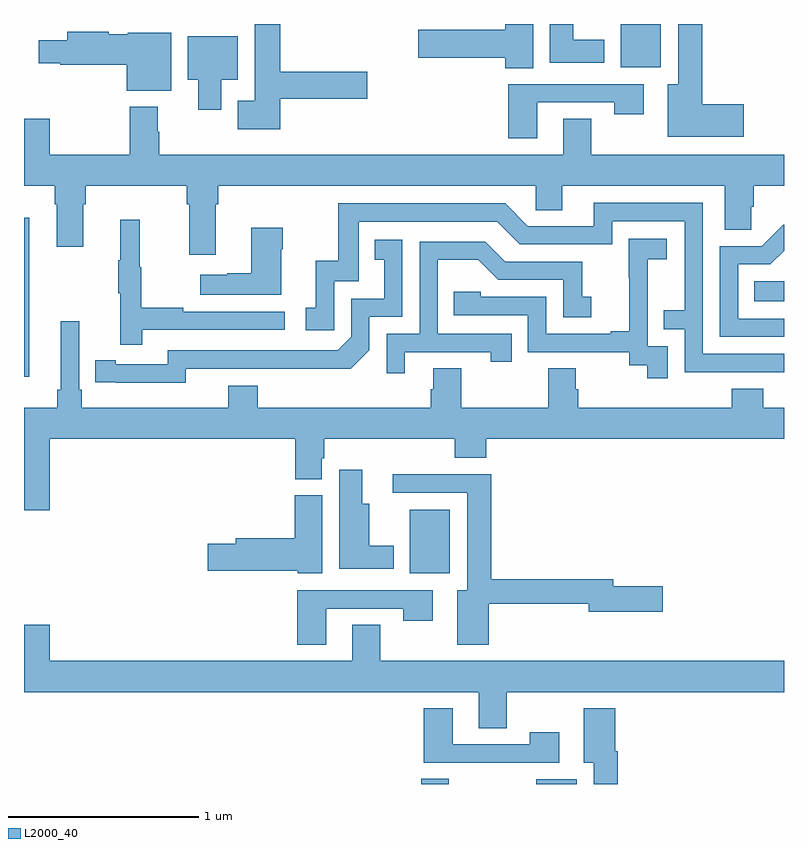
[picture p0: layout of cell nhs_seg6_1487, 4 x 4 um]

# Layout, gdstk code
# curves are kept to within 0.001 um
import gdstk
lib = gdstk.Library(unit=1e-6, precision=1e-09)
def R(c, l, rs):  # rectangles x0, y0, x1, y1
    for r in rs: c.add(gdstk.rectangle(r[:2], r[2:], *l))
def P(c, l, *ps):  # polygons
    for p in ps: c.add(gdstk.Polygon(p, *l))
L2000_40 = (2000, 40)

nhs_seg6_1487 = lib.new_cell('nhs_seg6_1487')
R(nhs_seg6_1487, L2000_40, [(203.09,965.5,203.236,965.528), (203.696,965.5,203.908,965.524), (203.03,966.608,203.242,966.943), (201,967.644,201.028,968.479), (204.844,968.042,205,968.146), (204.14,969.272,204.352,969.5)])
P(nhs_seg6_1487, L2000_40, [(204.787,969.077),(204.569,969.077),(204.569,969.5),(204.443,969.5),(204.443,969.184),(204.389,969.184),(204.389,968.906),(204.787,968.906)],
  [(204.055,969.418),(203.89,969.418),(203.89,969.5),(203.768,969.5),(203.768,969.296),(204.055,969.296)],
  [(202.349,969.106),(202.807,969.106),(202.807,969.248),(202.349,969.248),(202.349,969.5),(202.214,969.5),(202.214,969.097),(202.124,969.097),(202.124,968.945),(202.349,968.945)],
  [(203.68,969.5),(203.534,969.5),(203.534,969.47),(203.076,969.47),(203.076,969.323),(203.534,969.323),(203.534,969.268),(203.68,969.268)],
  [(201.775,969.454),(201.546,969.454),(201.546,969.445),(201.446,969.445),(201.446,969.458),(201.227,969.458),(201.227,969.415),(201.078,969.415),(201.078,969.293),(201.19,969.293),(201.19,969.286),(201.542,969.286),(201.542,969.149),(201.775,969.149)],
  [(202.039,969.206),(202.126,969.206),(202.126,969.436),(201.863,969.436),(201.863,969.206),(201.917,969.206),(201.917,969.048),(202.039,969.048)],
  [(203.701,969.087),(204.106,969.087),(204.106,969.024),(204.262,969.024),(204.262,969.183),(203.549,969.183),(203.549,968.898),(203.701,968.898)],
  [(202.009,968.552),(202.022,968.552),(202.022,968.648),(203.694,968.648),(203.694,968.521),(203.833,968.521),(203.833,968.648),(204.689,968.648),(204.689,968.416),(204.828,968.416),(204.828,968.539),(204.842,968.539),(204.842,968.648),(205,968.648),(205,968.812),(203.985,968.812),(203.985,969.002),(203.837,969.002),(203.837,968.812),(201.711,968.812),(201.711,968.933),(201.703,968.933),(201.703,969.064),(201.556,969.064),(201.556,968.812),(201.136,968.812),(201.136,969.001),(201,969.001),(201,968.648),(201.161,968.648),(201.161,968.552),(201.173,968.552),(201.173,968.328),(201.313,968.328),(201.313,968.552),(201.326,968.552),(201.326,968.648),(201.857,968.648),(201.857,968.552),(201.869,968.552),(201.869,968.286),(202.009,968.286)],
  [(205,967.764),(204.573,967.764),(204.573,968.559),(203.999,968.559),(203.999,968.436),(203.652,968.436),(203.532,968.556),(202.653,968.556),(202.653,968.254),(202.535,968.254),(202.535,968.007),(202.482,968.007),(202.482,967.887),(202.632,967.887),(202.632,968.145),(202.761,968.145),(202.761,968.46),(203.49,968.46),(203.61,968.34),(204.096,968.34),(204.096,968.463),(204.477,968.463),(204.477,967.994),(204.367,967.994),(204.367,967.893),(204.477,967.893),(204.477,967.668),(205,967.667)],
  [(201.623,967.89),(202.372,967.89),(202.372,967.986),(201.839,967.986),(201.839,968.006),(201.616,968.006),(201.616,968.22),(201.608,968.22),(201.608,968.47),(201.506,968.47),(201.506,968.257),(201.495,968.257),(201.495,968.083),(201.506,968.083),(201.506,967.812),(201.623,967.812)],
  [(205,967.95),(204.759,967.95),(204.759,968.235),(204.928,968.235),(205,968.307),(205,968.444),(204.995,968.444),(204.882,968.331),(204.663,968.331),(204.663,967.854),(205,967.854)],
  [(202.354,968.315),(202.362,968.315),(202.362,968.428),(202.196,968.428),(202.196,968.189),(202.07,968.189),(202.07,968.179),(201.927,968.179),(201.927,968.075),(202.354,968.075)],
  [(204.387,967.803),(204.282,967.803),(204.282,968.033),(204.284,968.033),(204.284,968.261),(204.382,968.261),(204.382,968.371),(204.184,968.371),(204.184,968.165),(204.185,968.165),(204.185,967.882),(204.089,967.882),(204.089,967.869),(203.748,967.869),(203.748,968.064),(203.403,968.064),(203.403,968.091),(203.263,968.091),(203.263,967.968),(203.652,967.968),(203.652,967.773),(204.186,967.773),(204.186,967.705),(204.279,967.705),(204.279,967.635),(204.387,967.635)],
  [(201.852,967.686),(202.72,967.685),(202.818,967.782),(202.818,967.959),(202.992,967.959),(202.992,968.365),(202.846,968.365),(202.846,968.259),(202.895,968.259),(202.895,968.055),(202.722,968.055),(202.722,967.854),(202.65,967.782),(201.756,967.782),(201.756,967.71),(201.484,967.71),(201.484,967.73),(201.376,967.73),(201.376,967.614),(201.852,967.613)],
  [(203.005,967.773),(203.456,967.773),(203.456,967.722),(203.567,967.722),(203.567,967.869),(203.178,967.869),(203.178,968.258),(203.392,968.258),(203.496,968.154),(203.838,968.154),(203.838,967.956),(203.986,967.956),(203.986,968.065),(203.937,968.065),(203.937,968.25),(203.533,968.25),(203.428,968.355),(203.082,968.355),(203.082,967.869),(202.908,967.869),(202.908,967.662),(203.005,967.662)],
  [(201.136,967.316),(202.427,967.316),(202.427,967.105),(202.567,967.105),(202.567,967.215),(202.58,967.215),(202.58,967.316),(203.267,967.316),(203.267,967.217),(203.432,967.217),(203.432,967.316),(205,967.316),(205,967.48),(204.89,967.48),(204.89,967.579),(204.725,967.579),(204.725,967.48),(203.918,967.48),(203.918,967.578),(203.905,967.578),(203.905,967.688),(203.758,967.688),(203.758,967.48),(203.301,967.48),(203.301,967.688),(203.153,967.688),(203.153,967.578),(203.141,967.578),(203.141,967.48),(202.229,967.48),(202.229,967.597),(202.076,967.597),(202.076,967.48),(201.305,967.48),(201.305,967.576),(201.291,967.576),(201.291,967.936),(201.194,967.936),(201.194,967.576),(201.175,967.576),(201.175,967.48),(201,967.48),(201,966.942),(201.136,966.942)],
  [(202.945,966.754),(202.816,966.754),(202.816,966.976),(202.78,966.976),(202.78,967.153),(202.658,967.153),(202.658,966.632),(202.945,966.632)],
  [(203.446,966.45),(203.972,966.45),(203.972,966.407),(204.361,966.407),(204.361,966.542),(204.1,966.542),(204.1,966.578),(203.459,966.578),(203.459,967.13),(202.941,967.13),(202.941,967.032),(203.333,967.032),(203.333,966.52),(203.279,966.52),(203.279,966.234),(203.446,966.234)],
  [(202.57,967.02),(202.424,967.02),(202.424,966.794),(202.115,966.794),(202.115,966.764),(201.966,966.764),(201.966,966.622),(202.44,966.622),(202.44,966.608),(202.57,966.608)],
  [(202.591,966.423),(202.996,966.423),(202.996,966.36),(203.152,966.36),(203.152,966.519),(202.439,966.519),(202.439,966.234),(202.591,966.234)],
  [(203.541,965.984),(205,965.984),(205,966.148),(202.875,966.148),(202.875,966.338),(202.727,966.338),(202.727,966.148),(201.136,966.148),(201.136,966.337),(201,966.337),(201,965.984),(203.393,965.984),(203.393,965.794),(203.541,965.794)],
  [(203.818,965.773),(203.662,965.773),(203.662,965.709),(203.257,965.709),(203.257,965.899),(203.105,965.899),(203.105,965.613),(203.818,965.613)],
  [(204.125,965.672),(204.112,965.672),(204.112,965.899),(203.945,965.899),(203.945,965.612),(203.999,965.612),(203.999,965.5),(204.125,965.5)])

lib.write_gds('nhs_seg6_1487.gds')
